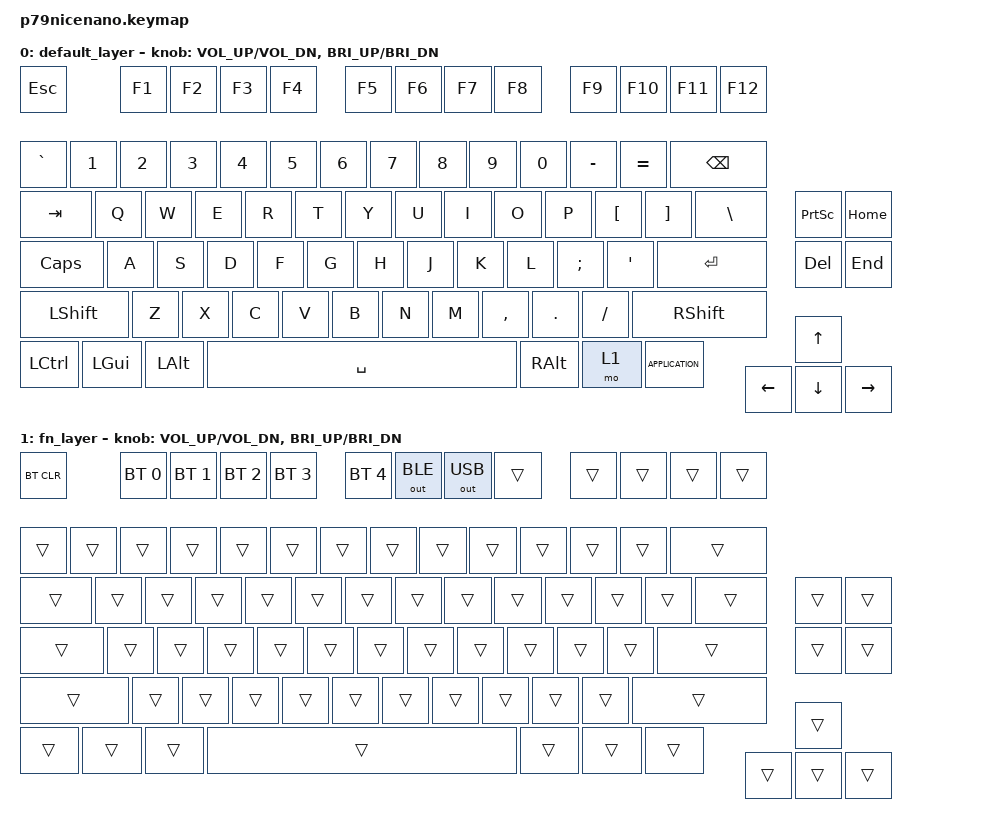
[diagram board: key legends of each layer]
/*
 * Primer79 keymap. All 81 key positions below are in the same order as the
 * `keys` list in p79nicenano-layouts.dtsi (which itself matches the vendor
 * info.json order). If you resequence one, resequence the other identically.
 *
 * The two rotary encoders default to: left = volume, right = brightness.
 * Change the `sensor-bindings` lines below to taste -- see
 * https://zmk.dev/docs/keymaps/behaviors/sensor-rotate
 */

#include <behaviors.dtsi>
#include <dt-bindings/zmk/keys.h>
#include <dt-bindings/zmk/bt.h>
#include <dt-bindings/zmk/outputs.h>

/ {
    keymap {
        compatible = "zmk,keymap";

        default_layer {
            bindings = <
    &kp ESC &kp F1 &kp F2 &kp F3 &kp F4 &kp F5 &kp F6 &kp F7 &kp F8 &kp F9 &kp F10 &kp F11 &kp F12
    &kp GRAVE &kp N1 &kp N2 &kp N3 &kp N4 &kp N5 &kp N6 &kp N7 &kp N8 &kp N9 &kp N0 &kp MINUS &kp EQUAL &kp BSPC
    &kp TAB &kp Q &kp W &kp E &kp R &kp T &kp Y &kp U &kp I &kp O &kp P &kp LBKT &kp RBKT &kp BSLH &kp PSCRN &kp HOME
    &kp CAPS &kp A &kp S &kp D &kp F &kp G &kp H &kp J &kp K &kp L &kp SEMI &kp SQT &kp RET &kp DEL &kp END
    &kp LSHFT &kp Z &kp X &kp C &kp V &kp B &kp N &kp M &kp COMMA &kp DOT &kp FSLH &kp RSHFT
    &kp UP
    &kp LCTRL &kp LGUI &kp LALT &kp SPACE &kp RALT &mo 1 &kp K_APPLICATION
    &kp LEFT &kp DOWN &kp RIGHT
            >;

            sensor-bindings = <&inc_dec_kp C_VOL_UP C_VOL_DN &inc_dec_kp C_BRI_UP C_BRI_DN>;
        };

        fn_layer {
            bindings = <
    &bt BT_CLR &bt BT_SEL 0 &bt BT_SEL 1 &bt BT_SEL 2 &bt BT_SEL 3 &bt BT_SEL 4 &out OUT_BLE &out OUT_USB &trans &trans &trans &trans &trans
    &trans &trans &trans &trans &trans &trans &trans &trans &trans &trans &trans &trans &trans &trans
    &trans &trans &trans &trans &trans &trans &trans &trans &trans &trans &trans &trans &trans &trans &trans &trans
    &trans &trans &trans &trans &trans &trans &trans &trans &trans &trans &trans &trans &trans &trans &trans
    &trans &trans &trans &trans &trans &trans &trans &trans &trans &trans &trans &trans
    &trans
    &trans &trans &trans &trans &trans &trans &trans
    &trans &trans &trans
            >;

            sensor-bindings = <&inc_dec_kp C_VOL_UP C_VOL_DN &inc_dec_kp C_BRI_UP C_BRI_DN>;
        };
    };
};
